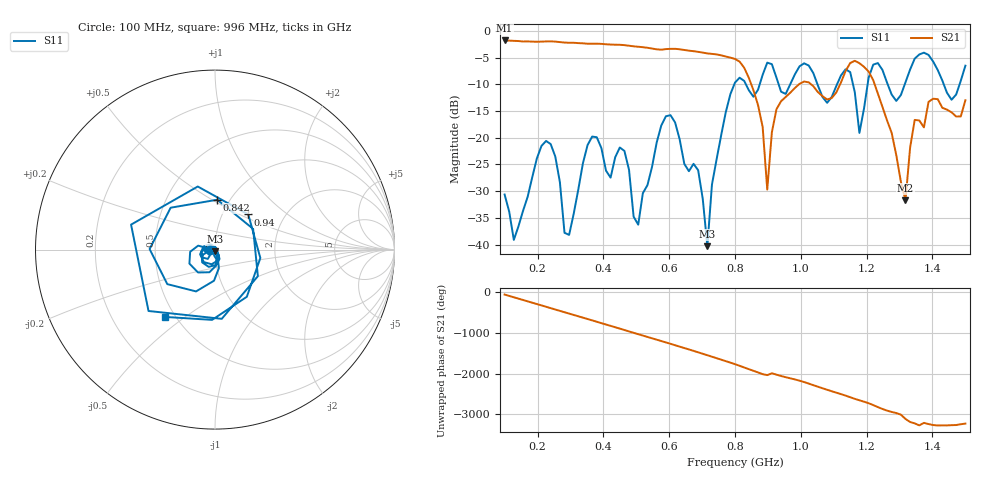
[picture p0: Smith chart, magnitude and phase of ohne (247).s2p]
! NanoVNA-App
! Date: 2025-09-25 14:22:43
! Start: 100MHz Stop: 1,5GHz Points: 101
! S-Parameter data: F S11 S21 S12 S22
# Hz S RI R 50
!  Frequency  S11_Real  S11_Imag  S21_Real  S21_Imag  S12_Real  S12_Imag  S22_Real  S22_Imag
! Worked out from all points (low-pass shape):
!   101 points, 100 MHz to 1.5 GHz, reference 50 ohm
!   highest |S21| = -1.79 dB at 100 MHz (marker M1); lowest = -31.7 dB at 1.318 GHz (marker M2)
!   |S21| within 3 dB of the highest: start of sweep to 771.4 MHz
!   lowest |S11| = -40.3 dB at 716 MHz (marker M3), VSWR 1.02, Z = 49.8 - j0.944 ohm
!   |S11| at or under -10 dB: start of sweep to 797.9 MHz; 833 MHz to 875.1 MHz (42.09 MHz wide, 4.93 % of centre); 1.051 GHz to 1.11 GHz (59.55 MHz wide, 5.51 % of centre) (the widest 3 of 7)
!   S12 and S22 are empty: the file has one direction only
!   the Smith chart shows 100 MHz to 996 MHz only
!   S11 on the Smith chart (normalised r, x): 100 MHz: 0.94, -0.01; 842 MHz: 0.88, +0.53; 940 MHz: 1.32, +0.56; 996 MHz: 0.44, -0.42
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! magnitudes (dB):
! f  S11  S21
! 100 MHz  -30.6  -1.8
! 128 MHz  -39.1  -1.9
! 226 MHz  -20.6  -2.0
! 296 MHz  -38.2  -2.2
! 338 MHz  -24.8  -2.3
! 464 MHz  -22.5  -2.7
! 506 MHz  -36.3  -3.0
! 576 MHz  -17.7  -3.5
! 688 MHz  -26.1  -3.9
! 716 MHz  -40.3  -4.2
! 800 MHz  -9.7  -5.3
! 842 MHz  -11.1  -8.8
! 898 MHz  -5.9  -29.7
! 940 MHz  -11.4  -13.2
! 996 MHz  -6.6  -9.9
! 1.038 GHz  -7.9  -10.4
! 1.178 GHz  -19.1  -6.1
! 1.22 GHz  -6.3  -9.2
! 1.276 GHz  -11.9  -19.1
! 1.318 GHz  -9.6  -31.7
! 1.346 GHz  -5.2  -16.7
! 1.5 GHz  -6.5  -13.0
